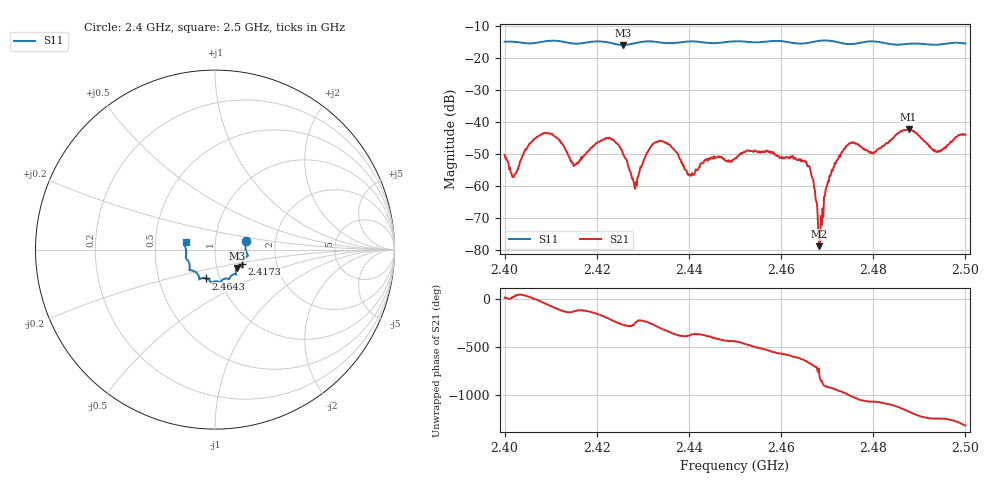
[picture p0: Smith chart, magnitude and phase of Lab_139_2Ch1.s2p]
# Hz S RI R 50
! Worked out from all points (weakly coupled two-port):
!   601 points, 2.4 GHz to 2.5 GHz, reference 50 ohm
!   highest |S21| = -42.36 dB at 2.4877 GHz (marker M1); lowest = -78.9 dB at 2.4683 GHz (marker M2)
!   lowest |S11| = -15.9 dB at 2.4257 GHz (marker M3), VSWR 1.38, Z = 62.5 - j13.1 ohm
!   |S11| at or under -10 dB: start of sweep to end of sweep
!   S12 and S22 are empty: the file has one direction only
!   S11 on the Smith chart (normalised r, x): 2.4 GHz: 1.41, +0.14; 2.4173 GHz: 1.34, -0.23; 2.4643 GHz: 0.86, -0.28; 2.5 GHz: 0.72, +0.06
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2.4e9  0.1733 0.0494  0.00287 0.000993  0 0  0 0
2.402167e9  0.1745 0.0404  0.00129 0.000775  0 0  0 0
2.4055e9  0.1697 0.00722  0.00418 0.00184  0 0  0 0
2.409167e9  0.1823 -0.029  0.00413 -0.00518  0 0  0 0
2.414833e9  0.1599 -0.0544  -0.0014 -0.0018  0 0  0 0
2.416667e9  0.1527 -0.0749  -0.000984 -0.00266  0 0  0 0
2.417333e9  0.1521 -0.0823  -0.0013 -0.00272  0 0  0 0
2.4225e9  0.1486 -0.0932  -0.00521 0.00157  0 0  0 0
2.425667e9  0.1228 -0.1023  -0.00035 0.00316  0 0  0 0
2.4285e9  0.1155 -0.128  -0.000652 0.00095  0 0  0 0
2.433333e9  0.1127 -0.1367  0.00171 0.0047  0 0  0 0
2.440167e9  0.0798 -0.1636  0.00143 -0.000403  0 0  0 0
2.45e9  0.0295 -0.1808  0.000559 -0.00262  0 0  0 0
2.464333e9  -0.0504 -0.1605  -0.000361 0.00257  0 0  0 0
2.466667e9  -0.0762 -0.1598  0.00101 0.000948  0 0  0 0
2.468333e9  -0.086 -0.1651  2.28e-05 -0.000111  0 0  0 0
2.4705e9  -0.0873 -0.1651  -0.00137 0.000435  0 0  0 0
2.474e9  -0.0976 -0.1357  -0.00079 0.00403  0 0  0 0
2.483333e9  -0.141 -0.0896  0.00469 -0.000879  0 0  0 0
2.487667e9  -0.1588 -0.0525  0.000447 -0.00761  0 0  0 0
2.494e9  -0.1618 -0.00109  -0.00335 -0.00116  0 0  0 0
2.5e9  -0.1635 0.0418  -0.00387 0.00499  0 0  0 0
